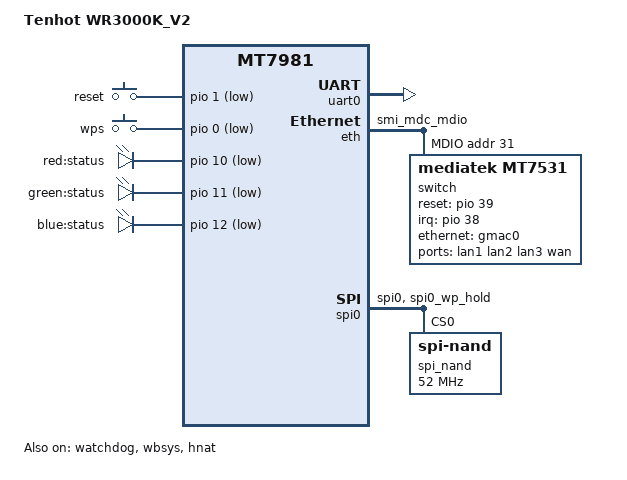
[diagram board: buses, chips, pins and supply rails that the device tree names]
// SPDX-License-Identifier: (GPL-2.0 OR MIT)

/dts-v1/;
#include "mt7981.dtsi"

/ {
	model = "Tenhot WR3000K_V2";
	compatible = "tenhot,wr3000k-v2", "mediatek,mt7981";

	aliases {
		led-boot = &led_run;
		led-failsafe = &led_blue;
		led-running = &led_green;
		led-upgrade = &led_blue;
		serial0 = &uart0;
		label-mac-device = &wan;
	};

	chosen {
		stdout-path = "serial0:115200n8";
		bootargs = "console=ttyS0,115200n1";
	};

	gpio-keys {
		compatible = "gpio-keys";

		reset {
			label = "reset";
			linux,code = <KEY_RESTART>;
			gpios = <&pio 1 GPIO_ACTIVE_LOW>;
		};

		wps {
			label = "wps";
			linux,code = <KEY_WPS_BUTTON>;
			gpios = <&pio 0 GPIO_ACTIVE_LOW>;
		};
	};

	leds {
		compatible = "gpio-leds";

		led_run: led-0 {
			label = "red:status";
			gpios = <&pio 10 GPIO_ACTIVE_LOW>;
		};

		led_green: led-1 {
			label = "green:status";
			gpios = <&pio 11 GPIO_ACTIVE_LOW>;
		};

		led_blue: led-2 {
			label = "blue:status";
			gpios = <&pio 12 GPIO_ACTIVE_LOW>;
		};
	};

	nmbm_spim_nand {
		compatible = "generic,nmbm";
		#address-cells = <1>;
		#size-cells = <1>;
		lower-mtd-device = <&spi_nand>;
		forced-create;

		partitions {
			compatible = "fixed-partitions";
			#address-cells = <1>;
			#size-cells = <1>;

			partition@0 {
				label = "bl2";
				reg = <0x00000 0x0100000>;
				read-only;
			};

			partition@100000 {
				label = "u-boot-env";
				reg = <0x0100000 0x0080000>;
			};

			factory: partition@180000 {
				label = "factory";
				reg = <0x180000 0x0200000>;
			};

			partition@380000 {
				label = "fip";
				reg = <0x380000 0x0200000>;
				read-only;
			};

			partition@580000 {
				label = "ubi";
				/* MTDPART_SIZ_FULL: all remaining NMBM logical space. */
				reg = <0x580000 0>;
			};
		};
	};
};

&uart0 {
	status = "okay";
};

&watchdog {
	status = "okay";
};

&eth {
	pinctrl-names = "default";
	pinctrl-0 = <&mdio_pins>;
	status = "okay";

	gmac0: mac@0 {
		compatible = "mediatek,eth-mac";
		reg = <0>;
		phy-mode = "2500base-x";


		fixed-link {
			speed = <2500>;
			full-duplex;
			pause;
		};
	};
	mdio: mdio-bus {
		#address-cells = <1>;
		#size-cells = <0>;
	};
};

&mdio {
	switch: switch@1f {
		compatible = "mediatek,mt7531";
		reg = <31>;
		reset-gpios = <&pio 39 GPIO_ACTIVE_HIGH>;
		interrupt-controller;
		#interrupt-cells = <1>;
		interrupt-parent = <&pio>;
		interrupts = <38 IRQ_TYPE_LEVEL_HIGH>;
	};
};

&switch {
	ports {
		#address-cells = <1>;
		#size-cells = <0>;

		port@0 {
			reg = <0>;
			label = "lan1";
		};

		port@1 {
			reg = <1>;
			label = "lan2";
		};

		port@2 {
			reg = <2>;
			label = "lan3";
		};

		wan: port@3 {
			reg = <3>;
			label = "wan";

		};

		port@6 {
			reg = <6>;
			ethernet = <&gmac0>;
			phy-mode = "2500base-x";
			fixed-link {
				speed = <2500>;
				full-duplex;
				pause;
			};
		};
	};
};

&spi0 {
	#address-cells = <1>;
	#size-cells = <0>;
	pinctrl-names = "default";
	pinctrl-0 = <&spi0_flash_pins>;
	status = "okay";

	spi_nand: flash@0 {
		compatible = "spi-nand";
		reg = <0>;
		spi-max-frequency = <52000000>;

		spi-cal-enable;
		spi-cal-mode = "read-data";
		spi-cal-datalen = <7>;
		spi-cal-data = /bits/ 8 <0x53 0x50 0x49 0x4E 0x41 0x4E 0x44>;
		spi-cal-addrlen = <5>;
		spi-cal-addr = /bits/ 32 <0x0 0x0 0x0 0x0 0x0>;

		spi-tx-bus-width = <4>;
		spi-rx-bus-width = <4>;

	};
};

&pio {
	mdio_pins: mdio-pins {
		mux {
			function = "eth";
			groups = "smi_mdc_mdio";
		};
	};

	spi0_flash_pins: spi0-pins {
		mux {
			function = "spi";
			groups = "spi0", "spi0_wp_hold";
		};
	};
};

&wbsys {
	mediatek,mtd-eeprom = <&factory 0>;
	status = "okay";
};

&hnat {
	mtketh-wan = "wan";
	mtketh-lan = "lan";
	mtketh-max-gmac = <2>;
	status = "okay";
};
